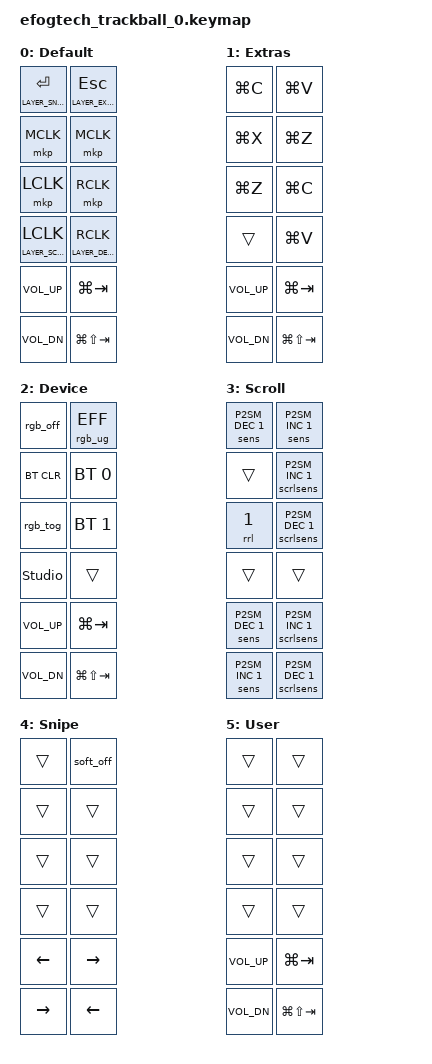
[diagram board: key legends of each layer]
#include <behaviors.dtsi>
#include <dt-bindings/zmk/bt.h>
#include <dt-bindings/zmk/keys.h>
#include <dt-bindings/zmk/pointing.h>
#include <dt-bindings/zmk/outputs.h>
#include <dt-bindings/zmk/p2sm.h>
#include <dt-bindings/zmk/rgb.h>
#include <dt-bindings/zmk/ext_power.h>

#define LAYER_DEFAULT      0
#define LAYER_EXTRAS       1
#define LAYER_DEVICE       2
#define LAYER_SCROLL       3
#define LAYER_SNIPE        4
#define LAYER_USER         5

#define TWIST_MULTIPLIER   (-1)
#define TWIST_DIVISOR      8

#define SCROLL_MULTIPLIER  1
#define SCROLL_DIVISOR     10

#define SNIPE_MULTIPLIER   1
#define SNIPE_DIVISOR      4

/ {
    keymap {
        compatible = "zmk,keymap";

        default_layer {
            display-name = "Default";
            DECLARE_ENCODERS;
            bindings = <
              // buttons
              &ltmkp LAYER_SNIPE ENTER  &ltmkp LAYER_EXTRAS ESC
              &mkp MCLK                 &mkp MCLK
              &mkp LCLK                 &mkp RCLK
              &ltm LAYER_SCROLL LCLK    &ltm LAYER_DEVICE RCLK
              // rotary encoders
              &kp C_VOL_UP              &kp LG(TAB)
              &kp C_VOL_DN              &kp LG(LS(TAB))
            >;
        };

        layer2 {
            display-name = "Extras";
            DECLARE_ENCODERS;
            bindings = <
              &kp LG(C)     &kp LG(V)
              &kp LG(X)     &kp LG(Z)
              &kp LG(Z)     &kp LG(C)
              &trans        &kp LG(V)

              &kp C_VOL_UP  &kp LG(TAB)
              &kp C_VOL_DN  &kp LG(LS(TAB))
            >;
        };

        layer3 {
            display-name = "Device";
            DECLARE_ENCODERS;
            bindings = <
              &rgb_off        &rgb_ug RGB_EFF
              &bt BT_CLR      &bt BT_SEL 0
              &rgb_tog        &bt BT_SEL 1
              &studio_unlock  &trans

              &kp C_VOL_UP    &kp LG(TAB)
              &kp C_VOL_DN    &kp LG(LS(TAB))
            >;
        };

        layer4 {
            display-name = "Scroll";
            DECLARE_ENCODERS;
            bindings = <
              &sens P2SM_DEC 1  &sens P2SM_INC 1
              &trans            &scrlsens P2SM_INC 1
              &rrl 1            &scrlsens P2SM_DEC 1
              &trans            &trans

              &sens P2SM_DEC 1  &scrlsens P2SM_INC 1
              &sens P2SM_INC 1  &scrlsens P2SM_DEC 1
            >;
        };

        layer5 {
            display-name = "Snipe";
            DECLARE_ENCODERS;
            bindings = <
              &trans     &soft_off
              &trans     &trans
              &trans     &trans
              &trans     &trans

              &kp LEFT   &kp RIGHT
              &kp RIGHT  &kp LEFT
            >;
        };

        layer6 {
            display-name = "User";
            DECLARE_ENCODERS;
            bindings = <
              &trans        &trans
              &trans        &trans
              &trans        &trans
              &trans        &trans

              &kp C_VOL_UP  &kp LG(TAB)
              &kp C_VOL_DN  &kp LG(LS(TAB))
            >;
        };
    };

    trackball {
        input-processors = <&zip_scroll_scaler TWIST_MULTIPLIER TWIST_DIVISOR>,
                           <&zip_pointer_accel>, <&zip_scroll_accel>,
                           <&zip_rotate_pointer>, <&zip_rotate_scroll>,
                           <&zip_ble_report_rate_limit>;

        scroll {
            layers = <LAYER_SCROLL>;
            input-processors = <&zip_xy_scaler SCROLL_MULTIPLIER SCROLL_DIVISOR>, <&zip_axis_clamper>,
                               <&zip_xy_to_scroll_mapper>, <&zip_scroll_transform INPUT_TRANSFORM_Y_INVERT>,
                               <&zip_rotate_scroll>, <&zip_scroll_accel>, <&zip_ble_report_rate_limit>;
        };

        snipe {
            layers = <LAYER_SNIPE>;
            input-processors = <&zip_xy_scaler SNIPE_MULTIPLIER SNIPE_DIVISOR>,
                               <&zip_rotate_pointer>, <&zip_rotate_scroll>, <&zip_ble_report_rate_limit>;
        };
    };

    macros {
        rgb_tog: rgb_tog {
            compatible = "zmk,behavior-macro";
            display-name = "Toggle RGB";
            #binding-cells = <0>;
            wait-ms = <20>;
            bindings
            = <&rgb_ug RGB_TOG>
            , <&ext_power EP_TOG>
            ;
        };

        rgb_off: rgb_off {
            compatible = "zmk,behavior-macro";
            display-name = "RGB off";
            #binding-cells = <0>;
            wait-ms = <20>;
            bindings
            = <&ext_power EP_OFF>
            , <&rgb_ug RGB_OFF>
            ;
        };
    };
};

/* KEYMAP_ASCII_START
╔═══════════════════════════════════════════════════════════════════════════════╗
║                        ENDGAME TRACKBALL KEYMAP                               ║
╠═══════════════════════════════════════════════════════════════════════════════╣
║  PHYSICAL LAYOUT:              LEGEND:                                        ║
║           ┌───────┐ ┌───────┐  · = transparent (falls through)                ║
║           │  [0]  │ │  [1]  │  LAYER/key = hold for layer, tap for key        ║
║           └───────┘ └───────┘  ENC = rotary encoder (CW/CCW)                  ║
║   ┌───┐                 ┌───┐                                                 ║
║   │[2]│    ╭───────╮    │[3]│                                                 ║
║   │   │    │   ⬤   │    │   │                                                 ║
║   │[4]│    ╰───────╯    │[5]│                                                 ║
║   └───┘                 └───┘                                                 ║
║           ┌───────┐ ┌───────┐                                                 ║
║           │  [6]  │ │  [7]  │                                                 ║
║           └───────┘ └───────┘                                                 ║
║   ◎E1                    ◎E2                                                  ║
╚═══════════════════════════════════════════════════════════════════════════════╝

═══════════════════════════════════════════════════════════════════════════════
                                      □ □
LAYER 0: Default                    □     □              Pointer: Normal + Accel
                                    □     □
                                      □ □
═══════════════════════════════════════════════════════════════════════════════
              ┌─────────────────┐ ┌─────────────────┐
              │ SNIPE/Enter     │ │ EXTRAS/Esc      │
              └─────────────────┘ └─────────────────┘
    ┌────────────┐                       ┌────────────┐
    │MCLK        │                       │Hyper+S     │
    └────────────┘                       └────────────┘
    ┌────────────┐                       ┌────────────┐
    │LCLK        │                       │RCLK        │
    └────────────┘                       └────────────┘
              ┌─────────────────┐ ┌─────────────────┐
              │ SCROLL/LCLK     │ │ DEVICE/RCLK     │
              └─────────────────┘ └─────────────────┘

    ENC1: Vol+/Vol-                          ENC2: Cmd-Tab/Cmd-S-Tab

═══════════════════════════════════════════════════════════════════════════════
                                      □ ■
LAYER 1: Extras                     □     □              Pointer: Normal
                                    □     □
                                      □ □
═══════════════════════════════════════════════════════════════════════════════
              ┌─────────────────┐ ┌─────────────────┐
              │ Cmd-C           │ │ Cmd-V           │
              └─────────────────┘ └─────────────────┘
    ┌────────────┐                       ┌────────────┐
    │Cmd-X       │                       │Cmd-Z       │
    └────────────┘                       └────────────┘
    ┌────────────┐                       ┌────────────┐
    │Cmd-Z       │                       │Cmd-C       │
    └────────────┘                       └────────────┘
              ┌─────────────────┐ ┌─────────────────┐
              │ .               │ │ Cmd-V           │
              └─────────────────┘ └─────────────────┘

    ENC1: Vol+/Vol-                          ENC2: Cmd-Tab/Cmd-S-Tab

═══════════════════════════════════════════════════════════════════════════════
                                      □ □
LAYER 2: Device                     □     □              Pointer: Normal
                                    □     □
                                      □ ■
═══════════════════════════════════════════════════════════════════════════════
              ┌─────────────────┐ ┌─────────────────┐
              │ RGB Off         │ │ RGB Eff         │
              └─────────────────┘ └─────────────────┘
    ┌────────────┐                       ┌────────────┐
    │BT Clear    │                       │bt BT_SEL 0  │
    └────────────┘                       └────────────┘
    ┌────────────┐                       ┌────────────┐
    │RGB Tog     │                       │bt BT_SEL 1  │
    └────────────┘                       └────────────┘
              ┌─────────────────┐ ┌─────────────────┐
              │ Studio          │ │ .               │
              └─────────────────┘ └─────────────────┘

    ENC1: Vol+/Vol-                          ENC2: Cmd-Tab/Cmd-S-Tab

═══════════════════════════════════════════════════════════════════════════════
                                      □ □
LAYER 3: Scroll                     □     □              Pointer: Scroll (1:10)
                                    □     □
                                      ■ □
═══════════════════════════════════════════════════════════════════════════════
              ┌─────────────────┐ ┌─────────────────┐
              │ Sens-           │ │ Sens+           │
              └─────────────────┘ └─────────────────┘
    ┌────────────┐                       ┌────────────┐
    │.           │                       │ScrlSens+   │
    └────────────┘                       └────────────┘
    ┌────────────┐                       ┌────────────┐
    │RptRate     │                       │ScrlSens-   │
    └────────────┘                       └────────────┘
              ┌─────────────────┐ ┌─────────────────┐
              │ .               │ │ .               │
              └─────────────────┘ └─────────────────┘

    ENC1: Sens-/Sens+                          ENC2: ScrlSens+/ScrlSens-

═══════════════════════════════════════════════════════════════════════════════
                                      ■ □
LAYER 4: Snipe                      □     □              Pointer: Snipe (1:4)
                                    □     □
                                      □ □
═══════════════════════════════════════════════════════════════════════════════
              ┌─────────────────┐ ┌─────────────────┐
              │ .               │ │ Power Off       │
              └─────────────────┘ └─────────────────┘
    ┌────────────┐                       ┌────────────┐
    │.           │                       │.           │
    └────────────┘                       └────────────┘
    ┌────────────┐                       ┌────────────┐
    │.           │                       │.           │
    └────────────┘                       └────────────┘
              ┌─────────────────┐ ┌─────────────────┐
              │ .               │ │ .               │
              └─────────────────┘ └─────────────────┘

    ENC1: Left/Right                          ENC2: Right/Left

═══════════════════════════════════════════════════════════════════════════════
                                      □ □
LAYER 5: User                       □     □              Pointer: Normal
                                    □     □
                                      □ □
═══════════════════════════════════════════════════════════════════════════════
              ┌─────────────────┐ ┌─────────────────┐
              │ .               │ │ .               │
              └─────────────────┘ └─────────────────┘
    ┌────────────┐                       ┌────────────┐
    │.           │                       │.           │
    └────────────┘                       └────────────┘
    ┌────────────┐                       ┌────────────┐
    │.           │                       │.           │
    └────────────┘                       └────────────┘
              ┌─────────────────┐ ┌─────────────────┐
              │ .               │ │ .               │
              └─────────────────┘ └─────────────────┘

    ENC1: Vol+/Vol-                          ENC2: Cmd-Tab/Cmd-S-Tab
KEYMAP_ASCII_END */
